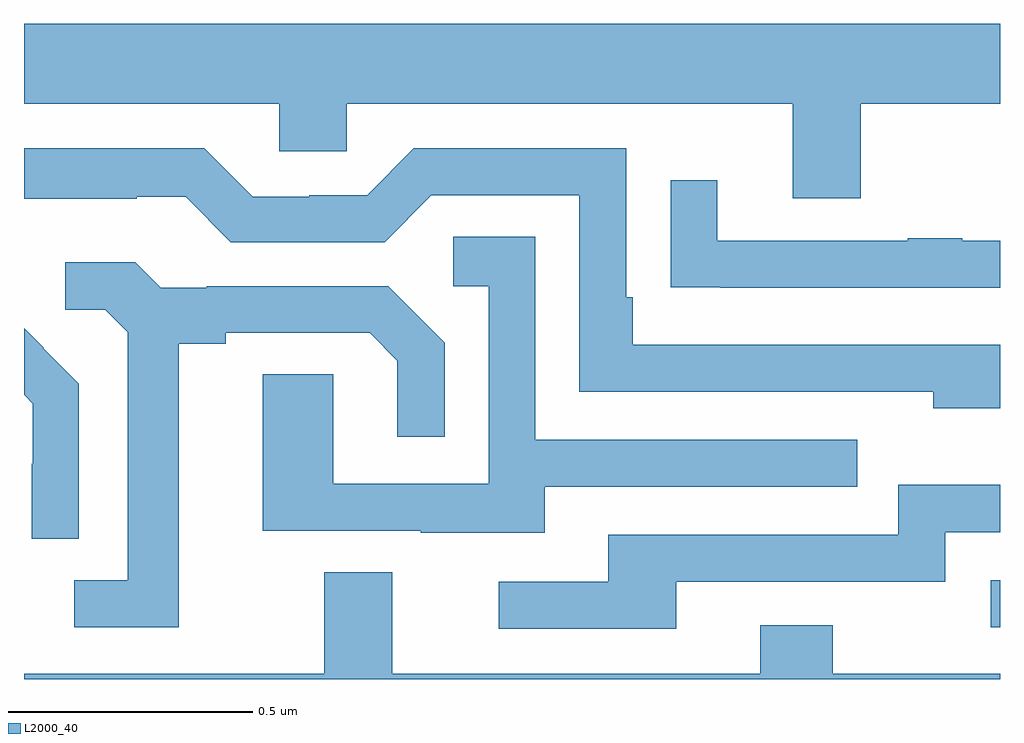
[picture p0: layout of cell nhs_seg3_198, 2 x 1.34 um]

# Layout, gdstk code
import gdstk
lib = gdstk.Library(unit=1e-6, precision=1e-09)
def R(c, l, rs):  # rectangles x0, y0, x1, y1
    for r in rs: c.add(gdstk.rectangle(r[:2], r[2:], *l))
def P(c, l, *ps):  # polygons
    for p in ps: c.add(gdstk.Polygon(p, *l))
L2000_40 = (2000, 40)

nhs_seg3_198 = lib.new_cell('nhs_seg3_198')
R(nhs_seg3_198, L2000_40, [(114.981,702.507,115,702.603)])
P(nhs_seg3_198, L2000_40, [(114.715,703.58),(115,703.58),(115,703.744),(113,703.744),(113,703.58),(113.523,703.58),(113.523,703.482),(113.661,703.482),(113.661,703.58),(114.575,703.58),(114.575,703.386),(114.715,703.386)],
  [(115,703.086),(114.247,703.086),(114.247,703.183),(114.234,703.183),(114.234,703.488),(113.799,703.488),(113.703,703.392),(113.585,703.392),(113.585,703.389),(113.469,703.389),(113.369,703.489),(113,703.489),(113,703.385),(113.231,703.385),(113.231,703.389),(113.331,703.389),(113.424,703.296),(113.739,703.296),(113.835,703.392),(114.138,703.392),(114.138,702.99),(114.863,702.99),(114.863,702.956),(115,702.956)],
  [(115,703.299),(114.923,703.299),(114.923,703.304),(114.811,703.304),(114.811,703.299),(114.421,703.299),(114.421,703.423),(114.325,703.423),(114.325,703.204),(114.427,703.204),(114.427,703.203),(115,703.203)],
  [(114.067,702.795),(114.707,702.795),(114.707,702.891),(114.048,702.891),(114.048,703.307),(113.88,703.307),(113.88,703.206),(113.952,703.206),(113.952,702.801),(113.634,702.801),(113.634,703.025),(113.489,703.025),(113.489,702.705),(113.813,702.705),(113.813,702.701),(114.067,702.701)],
  [(113.317,703.088),(113.413,703.088),(113.413,703.11),(113.708,703.11),(113.765,703.053),(113.765,702.897),(113.862,702.897),(113.862,703.09),(113.746,703.206),(113.374,703.206),(113.374,703.203),(113.28,703.203),(113.228,703.255),(113.085,703.255),(113.085,703.158),(113.166,703.158),(113.213,703.111),(113.213,702.603),(113.103,702.603),(113.103,702.507),(113.317,702.507)],
  [(113.112,703.006),(113.039,703.079),(113.04,703.08),(113,703.12),(113,702.983),(113.018,702.965),(113.018,702.842),(113.016,702.842),(113.016,702.688),(113.112,702.688)],
  [(114.337,702.6),(114.888,702.6),(114.888,702.702),(115,702.702),(115,702.799),(114.792,702.799),(114.792,702.696),(114.197,702.696),(114.197,702.6),(113.973,702.6),(113.973,702.504),(114.337,702.504)],
  [(115,702.412),(114.657,702.412),(114.657,702.511),(114.509,702.511),(114.509,702.412),(113.755,702.412),(113.755,702.62),(113.615,702.62),(113.615,702.412),(113,702.412),(113,702.4),(115,702.4)])

lib.write_gds('nhs_seg3_198.gds')
